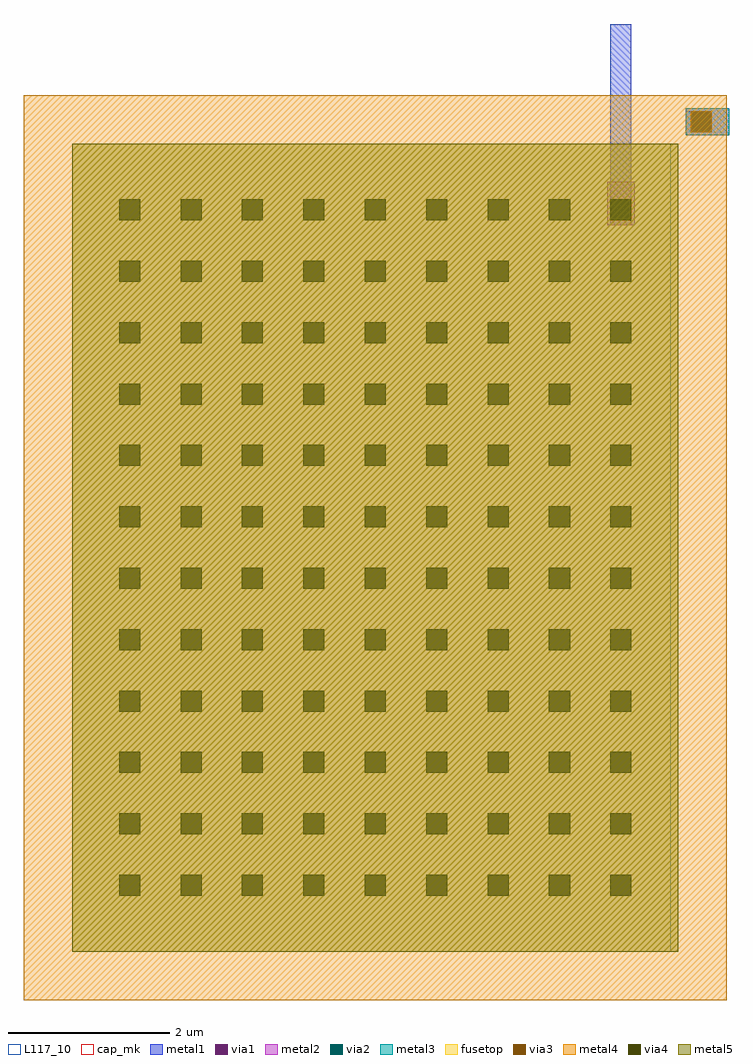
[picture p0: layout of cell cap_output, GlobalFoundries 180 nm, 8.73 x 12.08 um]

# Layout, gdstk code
from math import pi, radians
import gdstk
lib = gdstk.Library(unit=1e-6, precision=1e-09)
def R(c, l, rs):  # rectangles x0, y0, x1, y1
    for r in rs: c.add(gdstk.rectangle(r[:2], r[2:], *l))
def A(c, l, x, y, w, h, nx, ny, dx, dy):  # array of equal rectangles
    R(c, l, [(x+i*dx, y+j*dy, x+i*dx+w, y+j*dy+h) for i in range(nx) for j in range(ny)])
def P(c, l, *ps):  # polygons
    for p in ps: c.add(gdstk.Polygon(p, *l))
metal1 = (34, 0)
via1 = (35, 0)
metal2 = (36, 0)
via2 = (38, 0)
via3 = (40, 0)
via4 = (41, 0)
metal3 = (42, 0)
metal4 = (46, 0)
fusetop = (75, 0)
metal5 = (81, 0)
cap_mk = (117, 5)
L117_10 = (117, 10)

cap_mim = lib.new_cell('cap_mim')
A(cap_mim, via4, 0.69, 0.58, 0.26, 0.26, 12, 9, 0.76, 0.76)
R(cap_mim, metal4, [(-0.6,-0.6,10.6,8.1)])
R(cap_mim, fusetop, [(0,0,10,7.5)])
R(cap_mim, metal5, [(0,0,10,7.5)])
R(cap_mim, cap_mk, [(-0.6,-0.6,10.6,8.1)])
R(cap_mim, L117_10, [(0,0,10,0.1)])
cap_mim.add(gdstk.Label('t', (5,3.75), layer=81, texttype=10))
cap_mim.add(gdstk.Label('b', (5,-0.3), layer=46, texttype=10))

cap_output = lib.new_cell('cap_output')
R(cap_output, metal1, [(7.895,10.345,8.155,10.405), (7.895,10.405,8.155,10.665), (8.83,11.495,8.89,11.755), (8.89,11.495,8.92,11.755)])
R(cap_output, via1, [(7.895,10.405,8.155,10.665), (8.89,11.495,9.15,11.755)])
P(cap_output, via1, [(8.975,11.735),(8.975,11.735),(8.975,11.735),(8.975,11.735)])
R(cap_output, metal2, [(7.855,10.345,8.195,10.88), (8.83,11.455,9.365,11.495), (8.83,11.495,9.365,11.755), (8.83,11.755,9.365,11.795)])
R(cap_output, via2, [(8.89,11.495,9.15,11.755)])
R(cap_output, via3, [(8.89,11.495,9.15,11.755)])
R(cap_output, metal3, [(8.83,11.455,9.365,11.795)])
cap_output.add(gdstk.FlexPath([(8.025,10.665),(8.025,12.835)], 0.26, ends="flush", simple_path=True, layer=34, datatype=0))  # metal1
r = gdstk.Reference(cap_mim, (8.735,1.355), rotation=pi/2); r.repetition = gdstk.Repetition(1, 1, v1=(0,0), v2=(0,0)); cap_output.add(r)

lib.write_gds('cap_output.gds')
